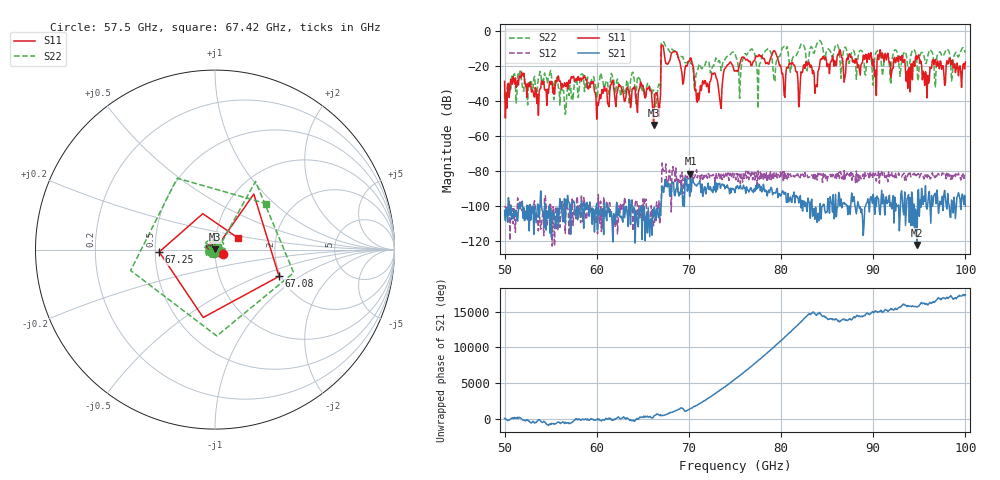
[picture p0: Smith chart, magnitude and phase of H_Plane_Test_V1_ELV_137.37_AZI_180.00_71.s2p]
! 11/27/2026 8:49:26 AM
! C:\ANRITSUVNA\TEMP\TEMP.S2P
! CHANNEL.1
! TR.MEASUREMENT
! RAW.DATA
# HZ S RI R 50.0
! FREQ.HZ  S11RE  S11IM  S21RE  S21IM  S12RE  S12IM  S22RE  S22IM
!; PortSelection: Port_12
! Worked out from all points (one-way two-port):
!   601 points, 50 GHz to 100 GHz, reference 50 ohm
!   highest |S21| = -81.59 dB at 70.17 GHz (marker M1); lowest = -122.4 dB at 94.75 GHz (marker M2)
!   lowest |S11| = -53.9 dB at 66.17 GHz (marker M3), VSWR 1.00, Z = 50.1 + j0.146 ohm
!   |S11| at or under -10 dB: start of sweep to 67 GHz; 67.24 GHz to end of sweep
!   |S22| runs from -47.7 to -5.6 dB; largest |S21 - S12| = 0.00018
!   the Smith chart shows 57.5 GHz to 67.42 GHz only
!   S11 on the Smith chart (normalised r, x): 57.5 GHz: 1.09, -0.05; 67.08 GHz: 1.95, -0.68; 67.25 GHz: 0.53, -0.02; 67.42 GHz: 1.29, +0.17
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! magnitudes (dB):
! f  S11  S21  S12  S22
! 50 GHz  -29.0  -102.6  -105.9  -35.8
! 51.67 GHz  -26.2  -101.7  -97.9  -23.2
! 53.42 GHz  -34.8  -109.7  -102.8  -35.4
! 57.5 GHz  -26.1  -97.3  -104.5  -34.5
! 58.42 GHz  -27.1  -98.8  -104.6  -24.7
! 60.17 GHz  -42.7  -101.1  -93.5  -30.2
! 66.17 GHz  -53.9  -106.2  -111.4  -34.0
! 66.67 GHz  -41.8  -106.4  -102.7  -31.6
! 67.08 GHz  -8.3  -88.7  -75.6  -6.8
! 67.25 GHz  -10.1  -92.4  -80.2  -6.3
! 67.42 GHz  -16.8  -85.0  -79.4  -8.4
! 70.17 GHz  -15.5  -81.6  -81.1  -18.5
! 70.92 GHz  -40.9  -87.8  -84.2  -23.0
! 75 GHz  -23.1  -92.5  -81.8  -13.0
! 79.25 GHz  -11.4  -92.6  -81.1  -29.0
! 80.25 GHz  -27.9  -92.1  -86.3  -9.3
! 83.42 GHz  -24.6  -106.1  -82.5  -10.9
! 91.67 GHz  -16.6  -98.0  -80.7  -15.3
! 93.75 GHz  -32.9  -95.1  -82.5  -21.5
! 94.75 GHz  -16.4  -122.4  -82.4  -19.1
! 95.83 GHz  -38.4  -102.0  -84.5  -16.6
! 100 GHz  -17.9  -100.3  -83.1  -12.6
